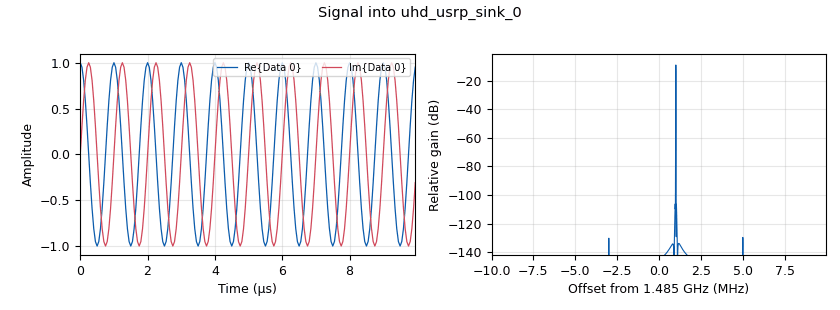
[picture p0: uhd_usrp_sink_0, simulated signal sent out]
options:
  parameters:
    generate_options: qt_gui
    id: transmit_sinusoid
    output_language: python
    title: Not titled yet
  states: {}

blocks:
- name: amp
  id: variable_qtgui_range
  parameters:
    label: Amplitude
    orient: Qt.Horizontal
    start: '0'
    step: '100e-3'
    stop: '1'
    value: '1'
  states: {}
- name: freq
  id: variable_qtgui_range
  parameters:
    label: Frequency
    orient: Qt.Horizontal
    start: '0'
    step: 500e3
    stop: 30e6
    value: 1e6
  states: {}
- name: samp_rate
  id: variable
  parameters:
    value: 20e6
  states: {}
- name: analog_sig_source_x_0
  id: analog_sig_source_x
  parameters:
    amp: '1'
    freq: 1e6
    offset: '0'
    phase: '0'
    samp_rate: samp_rate
    type: complex
    waveform: analog.GR_COS_WAVE
  states: {}
- name: uhd_usrp_sink_0
  id: uhd_usrp_sink
  parameters:
    ant0: TX/RX
    center_freq0: 1485e6
    dev_args: '""'
    gain0: '40'
    len_tag_name: ''
    norm_gain0: 'False'
    samp_rate: samp_rate
    sync: pc_clock
    type: fc32
  states: {}

connections:
- [analog_sig_source_x_0, '0', uhd_usrp_sink_0, '0']

metadata:
  file_format: 1
